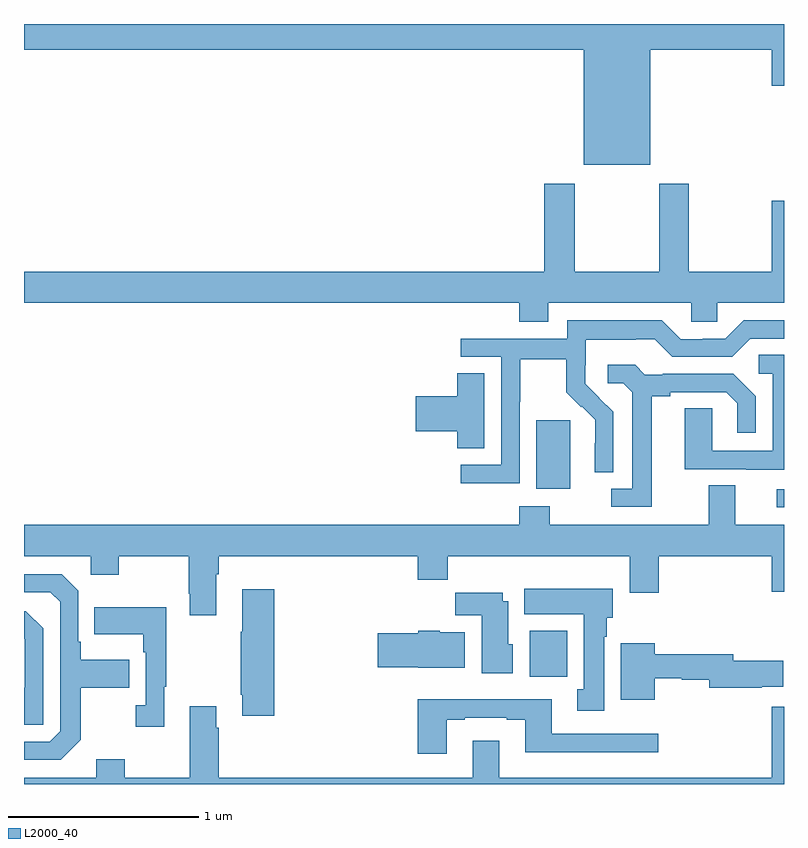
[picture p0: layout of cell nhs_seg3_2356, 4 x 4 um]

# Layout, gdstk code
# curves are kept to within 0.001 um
import gdstk
lib = gdstk.Library(unit=1e-6, precision=1e-09)
def R(c, l, rs):  # rectangles x0, y0, x1, y1
    for r in rs: c.add(gdstk.rectangle(r[:2], r[2:], *l))
def P(c, l, *ps):  # polygons
    for p in ps: c.add(gdstk.Polygon(p, *l))
L2000_40 = (2000, 40)

nhs_seg3_2356 = lib.new_cell('nhs_seg3_2356')
R(nhs_seg3_2356, L2000_40, [(235.661,682.964,235.858,683.206), (236.961,683.856,237,683.952), (235.697,683.954,235.876,684.315)])
P(nhs_seg3_2356, L2000_40, [(236.296,686.264),(236.936,686.264),(236.936,686.076),(237,686.076),(237,686.4),(233,686.4),(233,686.264),(235.946,686.264),(235.946,685.658),(236.296,685.658)],
  [(235.759,684.932),(236.511,684.932),(236.511,684.834),(236.649,684.834),(236.649,684.932),(237,684.932),(237,685.471),(236.936,685.471),(236.936,685.096),(236.499,685.096),(236.499,685.558),(236.344,685.558),(236.344,685.096),(235.899,685.096),(235.899,685.558),(235.739,685.558),(235.739,685.096),(233,685.096),(233,684.932),(235.607,684.932),(235.607,684.833),(235.759,684.833)],
  [(235.608,684.412),(235.611,684.412),(235.611,684.636),(235.855,684.636),(235.855,684.461),(235.932,684.384),(235.935,684.387),(236.006,684.317),(236.006,684.194),(236.004,684.194),(236.004,684.04),(236.1,684.04),(236.1,684.358),(235.954,684.506),(235.954,684.603),(235.956,684.603),(235.956,684.737),(236.219,684.737),(236.219,684.741),(236.319,684.741),(236.412,684.648),(236.727,684.648),(236.823,684.744),(237,684.744),(237,684.84),(236.787,684.84),(236.691,684.744),(236.573,684.744),(236.573,684.741),(236.457,684.741),(236.357,684.841),(235.86,684.841),(235.86,684.744),(235.299,684.744),(235.299,684.648),(235.512,684.648),(235.512,684.081),(235.299,684.081),(235.299,683.983),(235.608,683.983)],
  [(237,684.659),(236.868,684.659),(236.868,684.558),(236.94,684.558),(236.94,684.153),(236.622,684.153),(236.622,684.377),(236.477,684.377),(236.477,684.057),(236.801,684.057),(236.801,684.053),(237,684.053)],
  [(236.305,684.44),(236.401,684.44),(236.401,684.462),(236.696,684.462),(236.753,684.405),(236.753,684.249),(236.85,684.249),(236.85,684.442),(236.734,684.558),(236.362,684.558),(236.362,684.555),(236.268,684.555),(236.216,684.607),(236.073,684.607),(236.073,684.51),(236.154,684.51),(236.201,684.463),(236.201,683.955),(236.091,683.955),(236.091,683.859),(236.305,683.859)],
  [(235.423,684.563),(235.28,684.563),(235.28,684.44),(235.062,684.44),(235.062,684.257),(235.28,684.257),(235.28,684.166),(235.423,684.166)],
  [(234.013,683.504),(234.026,683.504),(234.026,683.6),(235.073,683.6),(235.073,683.476),(235.229,683.476),(235.229,683.6),(236.189,683.6),(236.189,683.406),(236.342,683.406),(236.342,683.6),(236.936,683.6),(236.936,683.412),(237,683.412),(237,683.764),(236.743,683.764),(236.743,683.972),(236.603,683.972),(236.603,683.764),(235.767,683.764),(235.767,683.863),(235.607,683.863),(235.607,683.764),(233,683.764),(233,683.6),(233.352,683.6),(233.352,683.501),(233.499,683.501),(233.499,683.6),(233.866,683.6),(233.866,683.401),(233.873,683.401),(233.873,683.289),(234.013,683.289)],
  [(233.299,682.633),(233.299,682.906),(233.555,682.906),(233.555,683.053),(233.299,683.053),(233.299,683.149),(233.286,683.149),(233.286,683.418),(233.199,683.505),(233,683.505),(233,683.409),(233.139,683.409),(233.19,683.358),(233.19,682.677),(233.136,682.623),(233,682.623),(233,682.527),(233.193,682.527)],
  [(236.053,683.174),(236.068,683.174),(236.068,683.274),(236.098,683.274),(236.098,683.428),(235.634,683.428),(235.634,683.294),(235.946,683.294),(235.946,682.898),(235.913,682.898),(235.913,682.785),(236.053,682.785)],
  [(234.317,683.425),(234.149,683.425),(234.149,683.201),(234.142,683.201),(234.142,682.87),(234.149,682.87),(234.149,682.758),(234.317,682.758)],
  [(235.573,683.136),(235.549,683.136),(235.549,683.362),(235.519,683.362),(235.519,683.407),(235.27,683.407),(235.27,683.288),(235.409,683.288),(235.409,682.982),(235.573,682.982)],
  [(233.737,682.913),(233.749,682.913),(233.749,683.329),(233.371,683.329),(233.371,683.189),(233.628,683.189),(233.628,683.093),(233.64,683.093),(233.64,682.814),(233.589,682.814),(233.589,682.701),(233.737,682.701)],
  [(233.1,683.22),(233.01,683.31),(233,683.31),(233,683.164),(233.004,683.16),(233.004,682.906),(233,682.906),(233,682.713),(233.1,682.713)],
  [(235.321,683.2),(235.188,683.2),(235.188,683.206),(235.074,683.206),(235.074,683.193),(234.861,683.193),(234.861,683.015),(235.074,683.015),(235.074,683.012),(235.321,683.012)],
  [(236.32,682.956),(236.463,682.956),(236.463,682.948),(236.606,682.948),(236.606,682.906),(236.882,682.906),(236.882,682.913),(236.995,682.913),(236.995,683.048),(236.734,683.048),(236.734,683.084),(236.32,683.084),(236.32,683.14),(236.141,683.14),(236.141,682.844),(236.32,682.844)],
  [(235.225,682.737),(235.321,682.737),(235.321,682.749),(235.541,682.749),(235.541,682.737),(235.637,682.737),(235.637,682.568),(236.338,682.568),(236.338,682.665),(235.777,682.665),(235.777,682.846),(235.073,682.846),(235.073,682.56),(235.225,682.56)],
  [(237,682.807),(236.936,682.807),(236.936,682.432),(235.501,682.432),(235.501,682.627),(235.361,682.627),(235.361,682.432),(234.026,682.432),(234.026,682.697),(234.013,682.697),(234.013,682.81),(233.873,682.81),(233.873,682.432),(233.529,682.432),(233.529,682.531),(233.381,682.531),(233.381,682.432),(233,682.432),(233,682.4),(237,682.4)])

lib.write_gds('nhs_seg3_2356.gds')
